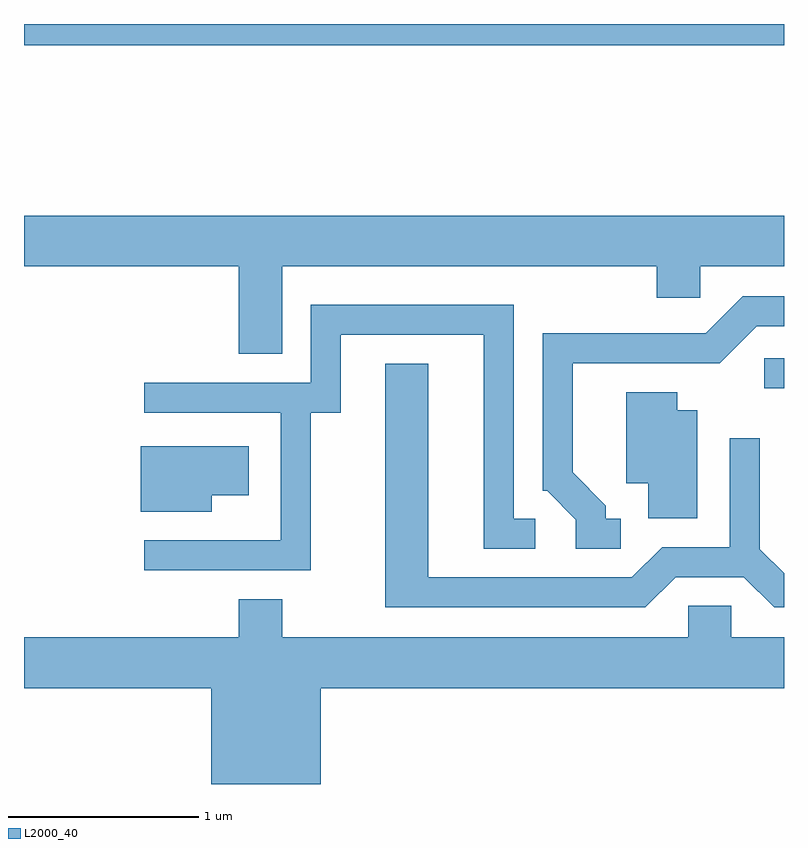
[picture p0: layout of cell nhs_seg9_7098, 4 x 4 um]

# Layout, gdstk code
import gdstk
lib = gdstk.Library(unit=1e-6, precision=1e-09)
def R(c, l, rs):  # rectangles x0, y0, x1, y1
    for r in rs: c.add(gdstk.rectangle(r[:2], r[2:], *l))
def P(c, l, *ps):  # polygons
    for p in ps: c.add(gdstk.Polygon(p, *l))
L2000_40 = (2000, 40)

nhs_seg9_7098 = lib.new_cell('nhs_seg9_7098')
R(nhs_seg9_7098, L2000_40, [(399.508,1984.516,399.611,1984.674), (395.611,1986.321,399.611,1986.432)])
P(nhs_seg9_7098, L2000_40, [(396.969,1985.156),(398.941,1985.156),(398.941,1984.991),(399.169,1984.991),(399.169,1985.156),(399.611,1985.156),(399.611,1985.424),(395.611,1985.424),(395.611,1985.156),(396.741,1985.156),(396.741,1984.696),(396.969,1984.696)],
  [(398.753,1983.829),(398.674,1983.829),(398.674,1983.897),(398.499,1984.072),(398.499,1984.646),(399.272,1984.646),(399.467,1984.841),(399.611,1984.841),(399.611,1984.999),(399.394,1984.999),(399.199,1984.804),(398.341,1984.804),(398.341,1983.976),(398.364,1983.976),(398.516,1983.824),(398.516,1983.671),(398.753,1983.671)],
  [(397.119,1984.386),(397.279,1984.386),(397.279,1984.796),(398.031,1984.796),(398.031,1983.671),(398.303,1983.671),(398.303,1983.829),(398.189,1983.829),(398.189,1984.954),(397.121,1984.954),(397.121,1984.544),(396.243,1984.544),(396.243,1984.386),(396.961,1984.386),(396.961,1983.714),(396.243,1983.714),(396.243,1983.556),(397.119,1983.556)],
  [(399.042,1983.521),(399.399,1983.521),(399.559,1983.361),(399.611,1983.361),(399.611,1983.54),(399.484,1983.667),(399.484,1984.253),(399.326,1984.253),(399.326,1983.679),(398.969,1983.679),(398.809,1983.519),(397.739,1983.519),(397.739,1984.644),(397.511,1984.644),(397.511,1983.361),(398.882,1983.361)],
  [(399.154,1984.399),(399.049,1984.399),(399.049,1984.494),(398.781,1984.494),(398.781,1984.016),(398.896,1984.016),(398.896,1983.831),(399.154,1983.831)],
  [(396.599,1983.951),(396.794,1983.951),(396.794,1984.209),(396.226,1984.209),(396.226,1983.866),(396.599,1983.866)],
  [(397.174,1982.936),(399.611,1982.936),(399.611,1983.204),(399.334,1983.204),(399.334,1983.369),(399.106,1983.369),(399.106,1983.204),(396.969,1983.204),(396.969,1983.404),(396.741,1983.404),(396.741,1983.204),(395.611,1983.204),(395.611,1982.936),(396.596,1982.936),(396.596,1982.432),(397.174,1982.432)])

lib.write_gds('nhs_seg9_7098.gds')
